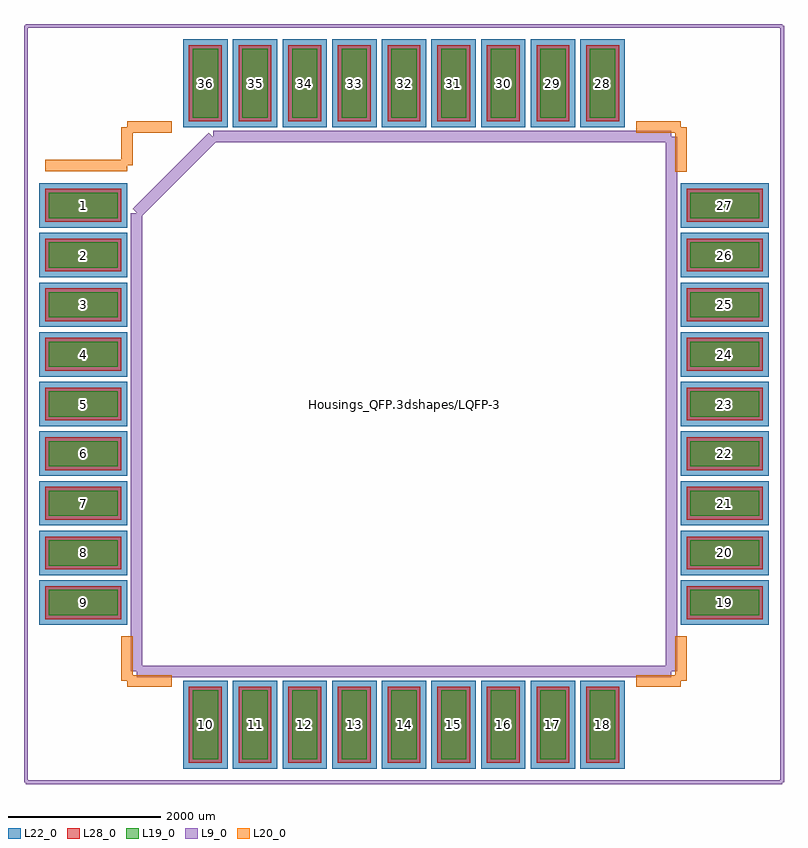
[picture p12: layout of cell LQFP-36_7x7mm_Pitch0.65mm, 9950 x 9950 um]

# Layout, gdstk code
import gdstk
lib = gdstk.Library(unit=1e-6, precision=1e-09)
def R(c, l, rs):  # rectangles x0, y0, x1, y1
    for r in rs: c.add(gdstk.rectangle(r[:2], r[2:], *l))
def A(c, l, x, y, w, h, nx, ny, dx, dy):  # array of equal rectangles
    R(c, l, [(x+i*dx, y+j*dy, x+i*dx+w, y+j*dy+h) for i in range(nx) for j in range(ny)])
L9_0 = (9, 0)
L19_0 = (19, 0)
L20_0 = (20, 0)
L22_0 = (22, 0)
L28_0 = (28, 0)

lqfp_36_7x7mm_pitch0_65m = lib.new_cell('LQFP-36_7x7mm_Pitch0.65mm')
A(lqfp_36_7x7mm_pitch0_65m, L19_0, -2765, -4650, 330, 900, 9, 2, 650, 8400)
A(lqfp_36_7x7mm_pitch0_65m, L19_0, -4650, -2765, 900, 330, 1, 9, 0, 650)
A(lqfp_36_7x7mm_pitch0_65m, L19_0, 3750, -2765, 900, 330, 1, 9, 0, 650)
A(lqfp_36_7x7mm_pitch0_65m, L22_0, -2890, -4775, 580, 1150, 9, 2, 650, 8400)
A(lqfp_36_7x7mm_pitch0_65m, L22_0, -4775, -2890, 1150, 580, 1, 9, 0, 650)
A(lqfp_36_7x7mm_pitch0_65m, L22_0, 3625, -2890, 1150, 580, 1, 9, 0, 650)
A(lqfp_36_7x7mm_pitch0_65m, L28_0, -2815, -4700, 430, 1000, 9, 2, 650, 8400)
A(lqfp_36_7x7mm_pitch0_65m, L28_0, -4700, -2815, 1000, 430, 1, 9, 0, 650)
A(lqfp_36_7x7mm_pitch0_65m, L28_0, 3700, -2815, 1000, 430, 1, 9, 0, 650)
lqfp_36_7x7mm_pitch0_65m.add(gdstk.FlexPath([(-3625,3125),(-4700,3125)], 149.998, ends="flush", simple_path=True, layer=20, datatype=0))  # L20_0
lqfp_36_7x7mm_pitch0_65m.add(gdstk.FlexPath([(3625,3625),(3040,3625)], 149.998, ends="flush", simple_path=True, layer=20, datatype=0))  # L20_0
lqfp_36_7x7mm_pitch0_65m.add(gdstk.FlexPath([(3625,-3625),(3040,-3625)], 149.998, ends="flush", simple_path=True, layer=20, datatype=0))  # L20_0
lqfp_36_7x7mm_pitch0_65m.add(gdstk.FlexPath([(-3625,-3625),(-3040,-3625)], 149.998, ends="flush", simple_path=True, layer=20, datatype=0))  # L20_0
lqfp_36_7x7mm_pitch0_65m.add(gdstk.FlexPath([(-3625,3625),(-3040,3625)], 149.998, ends="flush", simple_path=True, layer=20, datatype=0))  # L20_0
lqfp_36_7x7mm_pitch0_65m.add(gdstk.FlexPath([(-3625,-3625),(-3625,-3040)], 149.998, ends="flush", simple_path=True, layer=20, datatype=0))  # L20_0
lqfp_36_7x7mm_pitch0_65m.add(gdstk.FlexPath([(3625,-3625),(3625,-3040)], 149.998, ends="flush", simple_path=True, layer=20, datatype=0))  # L20_0
lqfp_36_7x7mm_pitch0_65m.add(gdstk.FlexPath([(3625,3625),(3625,3040)], 149.998, ends="flush", simple_path=True, layer=20, datatype=0))  # L20_0
lqfp_36_7x7mm_pitch0_65m.add(gdstk.FlexPath([(-3625,3625),(-3625,3125)], 149.998, ends="flush", simple_path=True, layer=20, datatype=0))  # L20_0
lqfp_36_7x7mm_pitch0_65m.add(gdstk.FlexPath([(-4950,-4950),(4950,-4950)], 50, ends="flush", simple_path=True, layer=9, datatype=0))  # L9_0
lqfp_36_7x7mm_pitch0_65m.add(gdstk.FlexPath([(-4950,4950),(4950,4950)], 50, ends="flush", simple_path=True, layer=9, datatype=0))  # L9_0
lqfp_36_7x7mm_pitch0_65m.add(gdstk.FlexPath([(4950,4950),(4950,-4950)], 50, ends="flush", simple_path=True, layer=9, datatype=0))  # L9_0
lqfp_36_7x7mm_pitch0_65m.add(gdstk.FlexPath([(-4950,4950),(-4950,-4950)], 50, ends="flush", simple_path=True, layer=9, datatype=0))  # L9_0
lqfp_36_7x7mm_pitch0_65m.add(gdstk.FlexPath([(-3500,2500),(-2500,3500)], 149.998, ends="flush", simple_path=True, layer=9, datatype=0))  # L9_0
lqfp_36_7x7mm_pitch0_65m.add(gdstk.FlexPath([(-3500,-3500),(-3500,2500)], 149.998, ends="flush", simple_path=True, layer=9, datatype=0))  # L9_0
lqfp_36_7x7mm_pitch0_65m.add(gdstk.FlexPath([(3500,-3500),(-3500,-3500)], 149.998, ends="flush", simple_path=True, layer=9, datatype=0))  # L9_0
lqfp_36_7x7mm_pitch0_65m.add(gdstk.FlexPath([(3500,3500),(3500,-3500)], 149.998, ends="flush", simple_path=True, layer=9, datatype=0))  # L9_0
lqfp_36_7x7mm_pitch0_65m.add(gdstk.FlexPath([(-2500,3500),(3500,3500)], 149.998, ends="flush", simple_path=True, layer=9, datatype=0))  # L9_0
lqfp_36_7x7mm_pitch0_65m.add(gdstk.Label('Housings_QFP.3dshapes/LQFP-36_7x7mm_Pitch0.65mm.wrl', (0,0), layer=12, texttype=0))
lqfp_36_7x7mm_pitch0_65m.add(gdstk.Label('36', (-2600,4200), layer=28, texttype=0))
lqfp_36_7x7mm_pitch0_65m.add(gdstk.Label('35', (-1950,4200), layer=28, texttype=0))
lqfp_36_7x7mm_pitch0_65m.add(gdstk.Label('34', (-1300,4200), layer=28, texttype=0))
lqfp_36_7x7mm_pitch0_65m.add(gdstk.Label('33', (-650,4200), layer=28, texttype=0))
lqfp_36_7x7mm_pitch0_65m.add(gdstk.Label('32', (0,4200), layer=28, texttype=0))
lqfp_36_7x7mm_pitch0_65m.add(gdstk.Label('31', (650,4200), layer=28, texttype=0))
lqfp_36_7x7mm_pitch0_65m.add(gdstk.Label('30', (1300,4200), layer=28, texttype=0))
lqfp_36_7x7mm_pitch0_65m.add(gdstk.Label('29', (1950,4200), layer=28, texttype=0))
lqfp_36_7x7mm_pitch0_65m.add(gdstk.Label('28', (2600,4200), layer=28, texttype=0))
lqfp_36_7x7mm_pitch0_65m.add(gdstk.Label('27', (4200,2600), layer=28, texttype=0))
lqfp_36_7x7mm_pitch0_65m.add(gdstk.Label('26', (4200,1950), layer=28, texttype=0))
lqfp_36_7x7mm_pitch0_65m.add(gdstk.Label('25', (4200,1300), layer=28, texttype=0))
lqfp_36_7x7mm_pitch0_65m.add(gdstk.Label('24', (4200,650), layer=28, texttype=0))
lqfp_36_7x7mm_pitch0_65m.add(gdstk.Label('23', (4200,0), layer=28, texttype=0))
lqfp_36_7x7mm_pitch0_65m.add(gdstk.Label('22', (4200,-650), layer=28, texttype=0))
lqfp_36_7x7mm_pitch0_65m.add(gdstk.Label('21', (4200,-1300), layer=28, texttype=0))
lqfp_36_7x7mm_pitch0_65m.add(gdstk.Label('20', (4200,-1950), layer=28, texttype=0))
lqfp_36_7x7mm_pitch0_65m.add(gdstk.Label('19', (4200,-2600), layer=28, texttype=0))
lqfp_36_7x7mm_pitch0_65m.add(gdstk.Label('18', (2600,-4200), layer=28, texttype=0))
lqfp_36_7x7mm_pitch0_65m.add(gdstk.Label('17', (1950,-4200), layer=28, texttype=0))
lqfp_36_7x7mm_pitch0_65m.add(gdstk.Label('16', (1300,-4200), layer=28, texttype=0))
lqfp_36_7x7mm_pitch0_65m.add(gdstk.Label('15', (650,-4200), layer=28, texttype=0))
lqfp_36_7x7mm_pitch0_65m.add(gdstk.Label('14', (0,-4200), layer=28, texttype=0))
lqfp_36_7x7mm_pitch0_65m.add(gdstk.Label('13', (-650,-4200), layer=28, texttype=0))
lqfp_36_7x7mm_pitch0_65m.add(gdstk.Label('12', (-1300,-4200), layer=28, texttype=0))
lqfp_36_7x7mm_pitch0_65m.add(gdstk.Label('11', (-1950,-4200), layer=28, texttype=0))
lqfp_36_7x7mm_pitch0_65m.add(gdstk.Label('10', (-2600,-4200), layer=28, texttype=0))
lqfp_36_7x7mm_pitch0_65m.add(gdstk.Label('9', (-4200,-2600), layer=28, texttype=0))
lqfp_36_7x7mm_pitch0_65m.add(gdstk.Label('8', (-4200,-1950), layer=28, texttype=0))
lqfp_36_7x7mm_pitch0_65m.add(gdstk.Label('7', (-4200,-1300), layer=28, texttype=0))
lqfp_36_7x7mm_pitch0_65m.add(gdstk.Label('6', (-4200,-650), layer=28, texttype=0))
lqfp_36_7x7mm_pitch0_65m.add(gdstk.Label('5', (-4200,0), layer=28, texttype=0))
lqfp_36_7x7mm_pitch0_65m.add(gdstk.Label('4', (-4200,650), layer=28, texttype=0))
lqfp_36_7x7mm_pitch0_65m.add(gdstk.Label('3', (-4200,1300), layer=28, texttype=0))
lqfp_36_7x7mm_pitch0_65m.add(gdstk.Label('2', (-4200,1950), layer=28, texttype=0))
lqfp_36_7x7mm_pitch0_65m.add(gdstk.Label('1', (-4200,2600), layer=28, texttype=0))
lqfp_36_7x7mm_pitch0_65m.add(gdstk.Label('%R', (0,0), layer=9, texttype=0))
lqfp_36_7x7mm_pitch0_65m.add(gdstk.Label('type', (0,-5700), layer=9, texttype=0))
lqfp_36_7x7mm_pitch0_65m.add(gdstk.Label('devicename', (0,5700), layer=9, texttype=0))

lib.write_gds('LQFP-36_7x7mm_Pitch0.65mm.gds')
